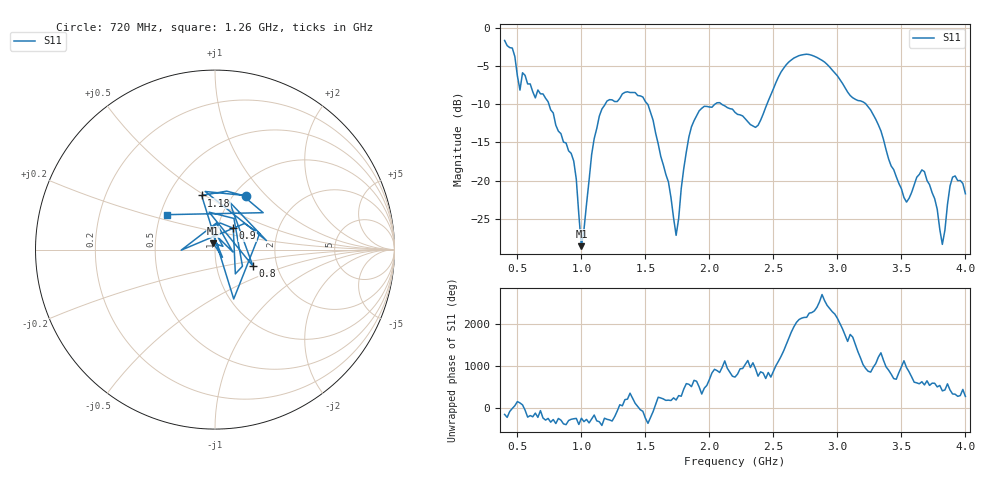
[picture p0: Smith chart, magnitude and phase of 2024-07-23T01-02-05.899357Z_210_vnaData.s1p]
!Created with skrf (http://scikit-rf.org).
# Hz S RI R 50.0
!freq ReS11 ImS11
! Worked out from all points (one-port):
!   181 points, 400 MHz to 4 GHz, reference 50 ohm
!   lowest |S11| = -28.6 dB at 1 GHz (marker M1), VSWR 1.08, Z = 48.9 + j3.52 ohm
!   |S11| at or under -10 dB: 746.3 MHz to 1.185 GHz (438.9 MHz wide, 45.5 % of centre); 1.518 GHz to 2.042 GHz (523.6 MHz wide, 29.4 % of centre); 3.225 GHz to end of sweep (the widest 3 of 4)
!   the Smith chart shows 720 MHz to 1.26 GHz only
!   S11 on the Smith chart (normalised r, x): 720 MHz: 1.13, +0.78; 800 MHz: 1.50, -0.29; 900 MHz: 1.19, +0.29; 1.18 GHz: 0.73, +0.48; 1.26 GHz: 0.54, +0.24
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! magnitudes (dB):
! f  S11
! 400 MHz  -1.6
! 520 MHz  -8.1
! 540 MHz  -5.9
! 720 MHz  -9.2
! 800 MHz  -12.7
! 860 MHz  -15.0
! 900 MHz  -16.1
! 960 MHz  -19.8
! 1 GHz  -28.6
! 1.1 GHz  -14.5
! 1.18 GHz  -10.1
! 1.26 GHz  -9.6
! 1.3 GHz  -9.2
! 1.52 GHz  -10.0
! 1.74 GHz  -27.2
! 1.76 GHz  -24.9
! 1.84 GHz  -14.3
! 1.92 GHz  -10.9
! 2.2 GHz  -11.1
! 2.38 GHz  -12.8
! 2.66 GHz  -3.9
! 3.1 GHz  -8.8
! 3.26 GHz  -10.8
! 3.56 GHz  -22.3
! 3.68 GHz  -18.8
! 3.82 GHz  -28.4
! 3.9 GHz  -19.5
! 4 GHz  -21.7
